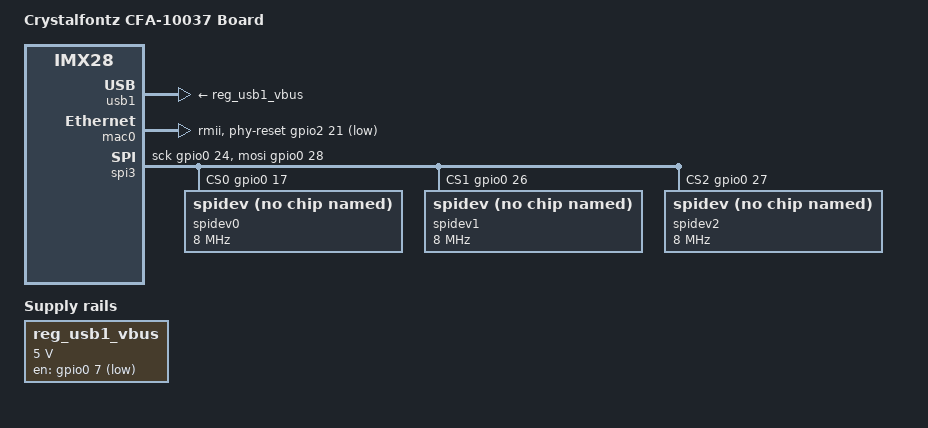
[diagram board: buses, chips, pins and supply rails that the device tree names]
/*
 * Copyright 2012 Free Electrons
 *
 * The code contained herein is licensed under the GNU General Public
 * License. You may obtain a copy of the GNU General Public License
 * Version 2 or later at the following locations:
 *
 * http://www.opensource.org/licenses/gpl-license.html
 * http://www.gnu.org/copyleft/gpl.html
 */

/*
 * The CFA-10049 is an expansion board for the CFA-10036 module, thus we
 * need to include the CFA-10036 DTS.
 */
/include/ "imx28-cfa10036.dts"

/ {
	model = "Crystalfontz CFA-10037 Board";
	compatible = "crystalfontz,cfa10037", "crystalfontz,cfa10036", "fsl,imx28";

	apb@80000000 {
		apbh@80000000 {
			pinctrl@80018000 {
				usb_pins_cfa10037: usb-10037@0 {
					reg = <0>;
					fsl,pinmux-ids = <
						0x0073 /* MX28_PAD_GPMI_D7__GPIO_0_7 */
					>;
					fsl,drive-strength = <0>;
					fsl,voltage = <1>;
					fsl,pull-up = <0>;
				};

				mac0_pins_cfa10037: mac0-10037@0 {
					reg = <0>;
					fsl,pinmux-ids = <
						0x2153 /* MX28_PAD_SSP2_D5__GPIO_2_21 */
					>;
					fsl,drive-strength = <0>;
					fsl,voltage = <1>;
					fsl,pull-up = <0>;
				};

				spi3_pins_cfa10037: spi3-cfa10037@0 {
					reg = <0>;
					fsl,pinmux-ids = <
						0x0183 /* MX28_PAD_GPMI_RDN__GPIO_0_24 */
						0x01c3 /* MX28_PAD_GPMI_RESETN__GPIO_0_28 */
						0x0113 /* MX28_PAD_GPMI_CE1N__GPIO_0_17 */
						0x01a3 /* MX28_PAD_GPMI_ALE__GPIO_0_26 */
						0x01b3 /* MX28_PAD_GPMI_CLE__GPIO_0_27 */
					>;
					fsl,drive-strength = <1>;
					fsl,voltage = <1>;
					fsl,pull-up = <1>;
				};
			};
		};

		apbx@80040000 {
			usbphy1: usbphy@8007e000 {
				status = "okay";
			};
		};
	};

	ahb@80080000 {
		usb1: usb@80090000 {
			vbus-supply = <&reg_usb1_vbus>;
			pinctrl-0 = <&usbphy1_pins_a>;
			pinctrl-names = "default";
			status = "okay";
		};

		mac0: ethernet@800f0000 {
			phy-mode = "rmii";
			pinctrl-names = "default";
			pinctrl-0 = <&mac0_pins_a
				&mac0_pins_cfa10037>;
			phy-reset-gpios = <&gpio2 21 0>;
			phy-reset-duration = <100>;
			status = "okay";
		};
	};

	spi3 {
		compatible = "spi-gpio";
		pinctrl-names = "default";
		pinctrl-0 = <&spi3_pins_cfa10037>;
		status = "okay";
		gpio-sck = <&gpio0 24 0>;
		gpio-mosi = <&gpio0 28 0>;
		cs-gpios = <&gpio0 17 0 &gpio0 26 0 &gpio0 27 0>;
		num-chipselects = <3>;
		#address-cells = <1>;
		#size-cells = <0>;

		spidev0: spidev@0 {
			compatible = "linux,spidev";
			reg = <0>;
			spi-max-frequency = <8000000>;
		};

		spidev1: spidev@1 {
			compatible = "linux,spidev";
			reg = <1>;
			spi-max-frequency = <8000000>;
		};

		spidev2: spidev@2 {
			compatible = "linux,spidev";
			reg = <2>;
			spi-max-frequency = <8000000>;
		};
	};

	regulators {
		compatible = "simple-bus";

		reg_usb1_vbus: usb1_vbus {
			compatible = "regulator-fixed";
			pinctrl-names = "default";
			pinctrl-0 = <&usb_pins_cfa10037>;
			regulator-name = "usb1_vbus";
			regulator-min-microvolt = <5000000>;
			regulator-max-microvolt = <5000000>;
			gpio = <&gpio0 7 1>;
		};
	};
};
